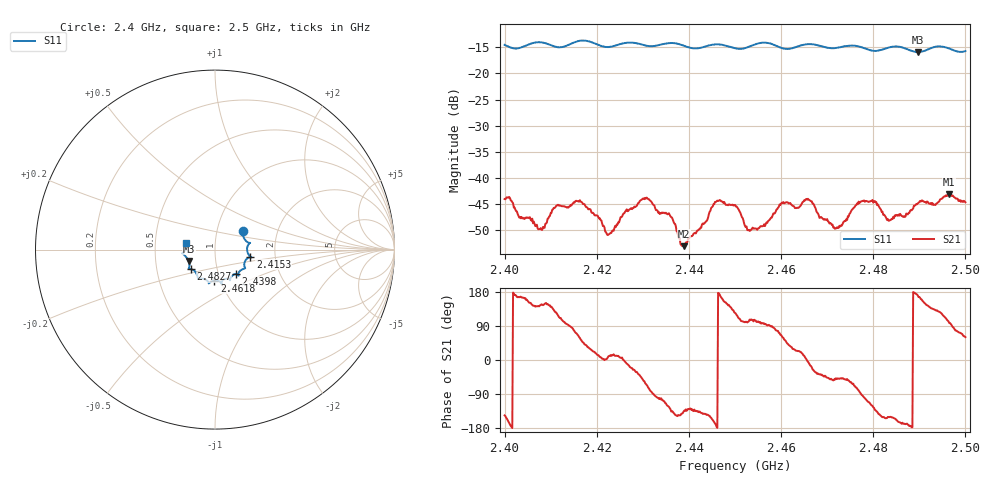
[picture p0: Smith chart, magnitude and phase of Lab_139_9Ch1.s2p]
# Hz S RI R 50
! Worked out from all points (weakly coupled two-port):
!   601 points, 2.4 GHz to 2.5 GHz, reference 50 ohm
!   highest |S21| = -43.22 dB at 2.4965 GHz (marker M1); lowest = -53.1 dB at 2.4388 GHz (marker M2)
!   lowest |S11| = -15.9 dB at 2.4897 GHz (marker M3), VSWR 1.38, Z = 36.9 - j4.81 ohm
!   |S11| at or under -10 dB: start of sweep to end of sweep
!   S12 and S22 are empty: the file has one direction only
!   S11 on the Smith chart (normalised r, x): 2.4 GHz: 1.33, +0.29; 2.4153 GHz: 1.48, -0.12; 2.4398 GHz: 1.21, -0.34; 2.4618 GHz: 0.94, -0.33; 2.4827 GHz: 0.75, -0.17; 2.5 GHz: 0.72, +0.06
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2.4e9  0.155 0.1064  -0.00518 -0.00347  0 0  0 0
2.407667e9  0.1959 0.0377  -0.0026 0.00189  0 0  0 0
2.415333e9  0.1967 -0.039  0.00176 0.00566  0 0  0 0
2.416667e9  0.2025 -0.0432  0.0036 0.0046  0 0  0 0
2.422667e9  0.1643 -0.0722  0.00282 0.000529  0 0  0 0
2.43e9  0.153 -0.1101  0.00389 -0.00495  0 0  0 0
2.433333e9  0.1301 -0.1341  -0.000814 -0.00454  0 0  0 0
2.436e9  0.1316 -0.1451  -0.00274 -0.00325  0 0  0 0
2.438833e9  0.1238 -0.1374  -0.00159 -0.00153  0 0  0 0
2.439833e9  0.1156 -0.136  -0.00166 -0.00203  0 0  0 0
2.445833e9  0.0841 -0.1707  -0.00576 -0.000959  0 0  0 0
2.45e9  0.0652 -0.1622  -0.0031 0.00452  0 0  0 0
2.453167e9  0.0376 -0.1774  -0.000887 0.00295  0 0  0 0
2.461833e9  -0.0034 -0.1725  0.00448 0.00348  0 0  0 0
2.466667e9  -0.0345 -0.1878  0.00559 -0.00197  0 0  0 0
2.471833e9  -0.0682 -0.1617  0.00216 -0.00243  0 0  0 0
2.477667e9  -0.0981 -0.1476  -0.000415 -0.00598  0 0  0 0
2.482667e9  -0.135 -0.1088  -0.00379 -0.00188  0 0  0 0
2.483333e9  -0.1401 -0.1084  -0.00335 -0.0019  0 0  0 0
2.489667e9  -0.1469 -0.0635  -0.00559 0.000948  0 0  0 0
2.4965e9  -0.1732 -0.0119  -0.000906 0.00685  0 0  0 0
2.5e9  -0.1593 0.0386  0.00287 0.00505  0 0  0 0
